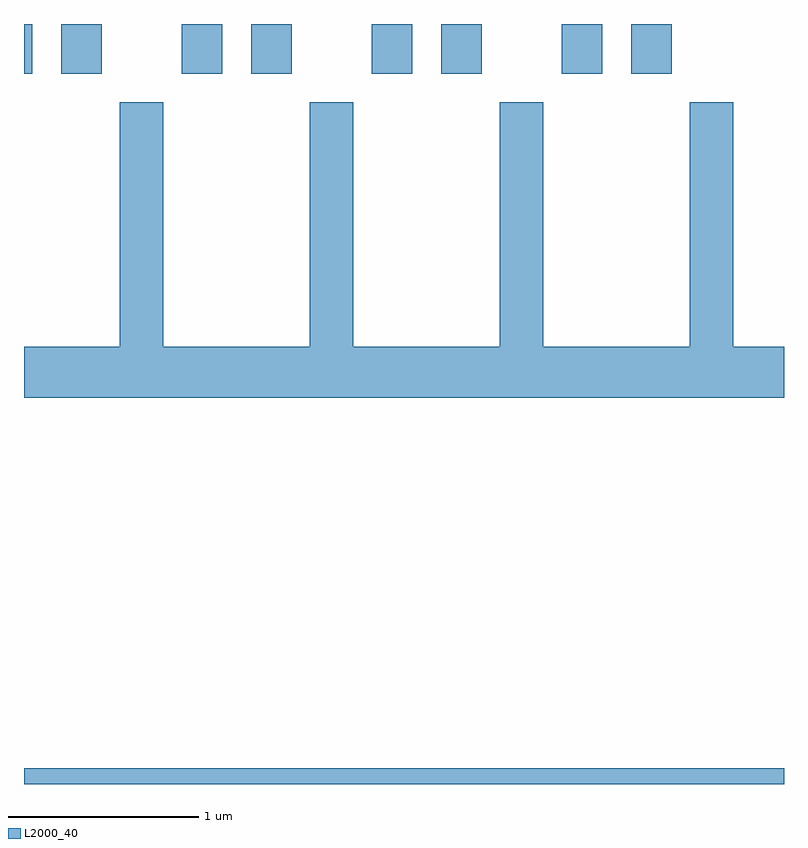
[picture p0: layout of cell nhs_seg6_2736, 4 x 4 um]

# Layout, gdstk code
import gdstk
lib = gdstk.Library(unit=1e-6, precision=1e-09)
def R(c, l, rs):  # rectangles x0, y0, x1, y1
    for r in rs: c.add(gdstk.rectangle(r[:2], r[2:], *l))
def P(c, l, *ps):  # polygons
    for p in ps: c.add(gdstk.Polygon(p, *l))
L2000_40 = (2000, 40)

nhs_seg6_2736 = lib.new_cell('nhs_seg6_2736')
R(nhs_seg6_2736, L2000_40, [(267.611,1610.162,271.611,1610.244), (267.611,1613.901,267.654,1614.162), (267.806,1613.901,268.019,1614.162), (268.441,1613.901,268.654,1614.162), (268.806,1613.901,269.019,1614.162), (269.441,1613.901,269.654,1614.162), (269.806,1613.901,270.019,1614.162), (270.441,1613.901,270.654,1614.162), (270.806,1613.901,271.019,1614.162)])
P(nhs_seg6_2736, L2000_40, [(271.611,1612.464),(271.344,1612.464),(271.344,1613.749),(271.116,1613.749),(271.116,1612.464),(270.344,1612.464),(270.344,1613.749),(270.116,1613.749),(270.116,1612.464),(269.344,1612.464),(269.344,1613.749),(269.116,1613.749),(269.116,1612.464),(268.344,1612.464),(268.344,1613.749),(268.116,1613.749),(268.116,1612.464),(267.611,1612.464),(267.611,1612.196),(271.611,1612.196)])

lib.write_gds('nhs_seg6_2736.gds')
